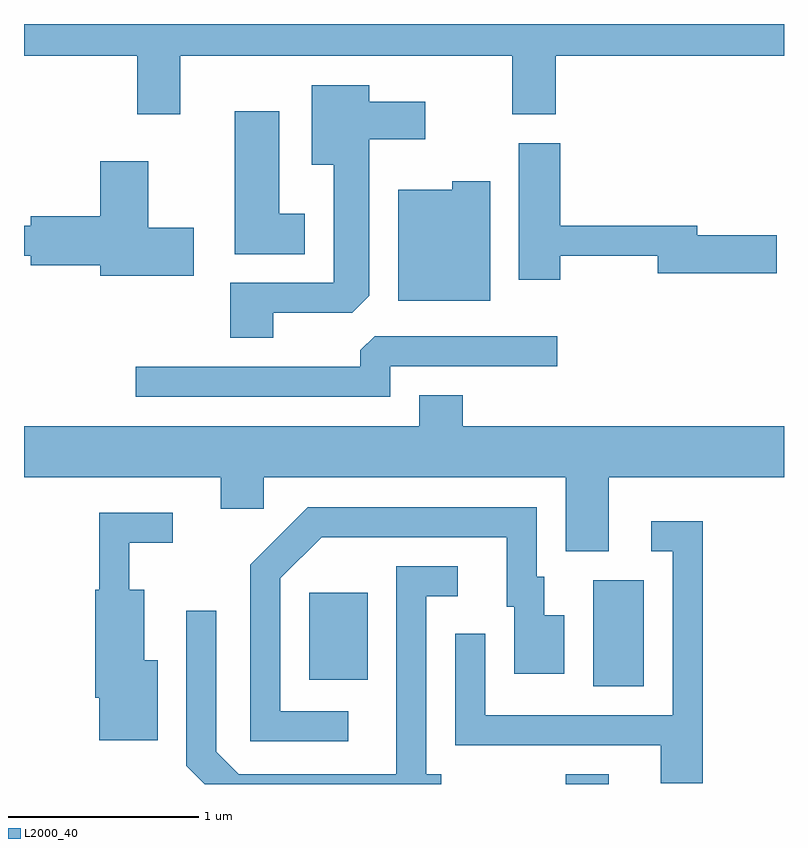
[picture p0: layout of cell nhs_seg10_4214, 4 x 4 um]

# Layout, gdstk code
import gdstk
lib = gdstk.Library(unit=1e-6, precision=1e-09)
def R(c, l, rs):  # rectangles x0, y0, x1, y1
    for r in rs: c.add(gdstk.rectangle(r[:2], r[2:], *l))
def P(c, l, *ps):  # polygons
    for p in ps: c.add(gdstk.Polygon(p, *l))
L2000_40 = (2000, 40)

nhs_seg10_4214 = lib.new_cell('nhs_seg10_4214')
R(nhs_seg10_4214, L2000_40, [(312.461,2114.522,312.689,2114.574), (312.606,2115.036,312.874,2115.594), (311.111,2115.071,311.419,2115.529)])
P(nhs_seg10_4214, L2000_40, [(310.434,2118.356),(312.181,2118.356),(312.181,2118.046),(312.409,2118.046),(312.409,2118.356),(313.611,2118.356),(313.611,2118.522),(309.611,2118.522),(309.611,2118.356),(310.206,2118.356),(310.206,2118.046),(310.434,2118.046)],
  [(310.924,2117.001),(311.339,2117.001),(311.429,2117.092),(311.429,2117.916),(311.724,2117.916),(311.724,2118.114),(311.429,2118.114),(311.429,2118.199),(311.126,2118.199),(311.126,2117.781),(311.241,2117.781),(311.241,2117.159),(310.696,2117.159),(310.696,2116.871),(310.924,2116.871)],
  [(311.089,2117.524),(310.954,2117.524),(310.954,2118.064),(310.721,2118.064),(310.721,2117.311),(311.089,2117.311)],
  [(312.434,2117.301),(312.946,2117.301),(312.946,2117.211),(313.574,2117.211),(313.574,2117.409),(313.154,2117.409),(313.154,2117.459),(312.434,2117.459),(312.434,2117.894),(312.216,2117.894),(312.216,2117.176),(312.434,2117.176)],
  [(310.504,2117.449),(310.264,2117.449),(310.264,2117.799),(310.011,2117.799),(310.011,2117.509),(309.646,2117.509),(309.646,2117.459),(309.611,2117.459),(309.611,2117.301),(309.646,2117.301),(309.646,2117.251),(310.011,2117.251),(310.011,2117.196),(310.504,2117.196)],
  [(312.064,2117.694),(311.866,2117.694),(311.866,2117.649),(311.581,2117.649),(311.581,2117.066),(312.064,2117.066)],
  [(311.539,2116.721),(312.418,2116.721),(312.418,2116.879),(311.457,2116.879),(311.381,2116.804),(311.381,2116.719),(310.198,2116.719),(310.198,2116.561),(311.539,2116.561)],
  [(309.611,2116.136),(310.646,2116.136),(310.646,2115.971),(310.874,2115.971),(310.874,2116.136),(312.461,2116.136),(312.461,2115.746),(312.689,2115.746),(312.689,2116.136),(313.611,2116.136),(313.611,2116.404),(311.919,2116.404),(311.919,2116.569),(311.691,2116.569),(311.691,2116.404),(309.611,2116.404)],
  [(311.318,2114.904),(310.959,2114.904),(310.959,2115.604),(311.177,2115.821),(312.151,2115.821),(312.151,2115.456),(312.191,2115.456),(312.191,2115.101),(312.454,2115.101),(312.454,2115.409),(312.349,2115.409),(312.349,2115.614),(312.309,2115.614),(312.309,2115.979),(311.104,2115.979),(310.801,2115.677),(310.801,2114.746),(311.318,2114.746)],
  [(310.314,2115.174),(310.244,2115.174),(310.244,2115.544),(310.164,2115.544),(310.164,2115.791),(310.393,2115.791),(310.393,2115.949),(310.006,2115.949),(310.006,2115.544),(309.986,2115.544),(309.986,2114.976),(310.006,2114.976),(310.006,2114.751),(310.314,2114.751)],
  [(313.184,2115.904),(312.913,2115.904),(312.913,2115.746),(313.026,2115.746),(313.026,2114.884),(312.039,2114.884),(312.039,2115.313),(311.881,2115.313),(311.881,2114.726),(312.961,2114.726),(312.961,2114.526),(313.184,2114.526)],
  [(311.808,2114.574),(311.729,2114.574),(311.729,2115.511),(311.893,2115.511),(311.893,2115.669),(311.571,2115.669),(311.571,2114.574),(310.742,2114.574),(310.624,2114.692),(310.624,2115.433),(310.466,2115.433),(310.466,2114.619),(310.563,2114.522),(311.808,2114.522)])

lib.write_gds('nhs_seg10_4214.gds')
